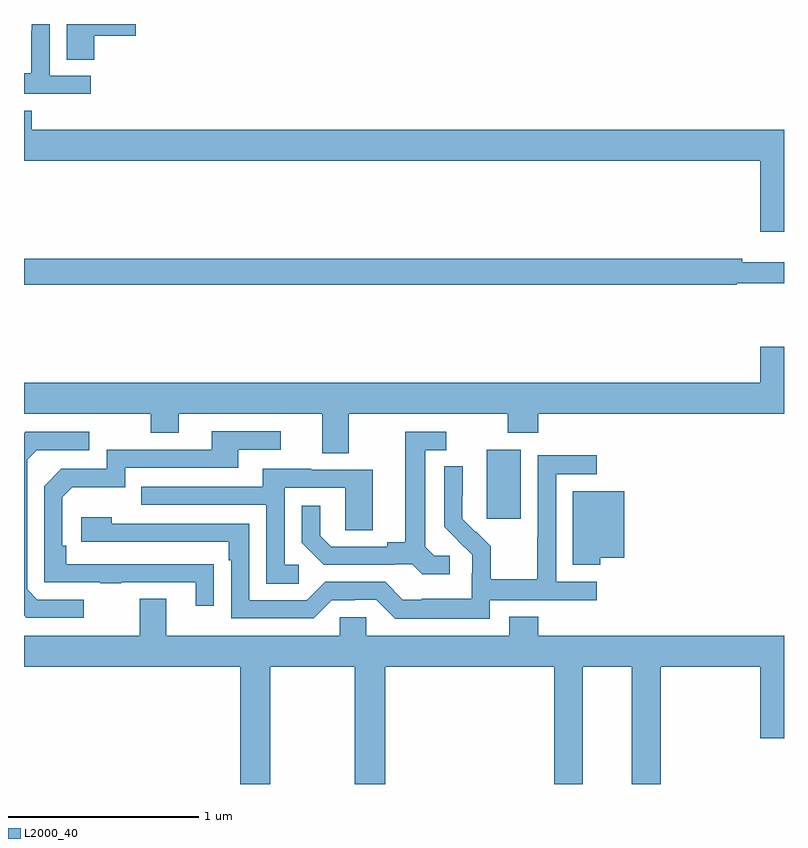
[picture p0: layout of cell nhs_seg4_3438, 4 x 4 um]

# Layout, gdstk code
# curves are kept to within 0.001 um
import gdstk
lib = gdstk.Library(unit=1e-6, precision=1e-09)
def R(c, l, rs):  # rectangles x0, y0, x1, y1
    for r in rs: c.add(gdstk.rectangle(r[:2], r[2:], *l))
def P(c, l, *ps):  # polygons
    for p in ps: c.add(gdstk.Polygon(p, *l))
L2000_40 = (2000, 40)

nhs_seg4_3438 = lib.new_cell('nhs_seg4_3438')
R(nhs_seg4_3438, L2000_40, [(295.436,768.297,295.615,768.658)])
P(nhs_seg4_3438, L2000_40, [(293.369,770.837),(293.587,770.837),(293.587,770.9),(293.225,770.9),(293.225,770.713),(293.369,770.713)],
  [(293.35,770.628),(293.136,770.628),(293.136,770.9),(293.04,770.9),(293.04,770.864),(293.038,770.864),(293.038,770.641),(293,770.641),(293,770.532),(293.35,770.532)],
  [(297,770.344),(293.042,770.344),(293.042,770.443),(293,770.443),(293,770.18),(296.876,770.18),(296.876,769.806),(297,769.806)],
  [(296.751,769.536),(297,769.536),(297,769.645),(296.78,769.645),(296.78,769.664),(293,769.664),(293,769.528),(296.751,769.528)],
  [(293,768.848),(293.668,768.848),(293.668,768.749),(293.815,768.749),(293.815,768.848),(294.569,768.848),(294.569,768.64),(294.709,768.64),(294.709,768.848),(295.546,768.848),(295.546,768.749),(295.706,768.749),(295.706,768.848),(297,768.848),(297,769.201),(296.876,769.201),(296.876,769.012),(293,769.012)],
  [(293.999,768.056),(293.222,768.057),(293.222,768.154),(293.202,768.154),(293.202,768.408),(293.255,768.461),(293.532,768.461),(293.532,768.564),(294.127,768.564),(294.127,768.66),(294.352,768.66),(294.352,768.756),(293.987,768.756),(293.987,768.66),(293.436,768.66),(293.436,768.558),(293.196,768.558),(293.106,768.468),(293.106,767.961),(293.401,767.961),(293.401,767.956),(293.513,767.956),(293.513,767.961),(293.903,767.961),(293.903,767.838),(293.999,767.838)],
  [(293.314,767.871),(293.07,767.871),(293.016,767.925),(293.016,768.606),(293.067,768.657),(293.344,768.657),(293.344,768.753),(293.007,768.753),(293,768.746),(293,767.788),(293.013,767.775),(293.314,767.775)],
  [(295.24,768.102),(295.158,768.102),(295.111,768.149),(295.111,768.657),(295.222,768.657),(295.222,768.753),(295.007,768.753),(295.007,768.173),(294.911,768.173),(294.911,768.15),(294.616,768.15),(294.559,768.207),(294.559,768.364),(294.462,768.364),(294.462,768.17),(294.578,768.054),(294.95,768.054),(294.95,768.057),(295.044,768.057),(295.096,768.005),(295.24,768.005)],
  [(295.452,767.868),(296.014,767.868),(296.014,767.964),(295.8,767.964),(295.8,768.531),(296.014,768.531),(296.014,768.63),(295.704,768.63),(295.704,768.2),(295.702,768.2),(295.702,767.977),(295.457,767.977),(295.457,768.151),(295.38,768.228),(295.377,768.225),(295.307,768.296),(295.308,768.572),(295.212,768.572),(295.212,768.254),(295.358,768.106),(295.358,768.009),(295.356,768.009),(295.356,767.875),(295.093,767.875),(295.093,767.871),(294.993,767.871),(294.9,767.964),(294.585,767.964),(294.489,767.868),(294.186,767.868),(294.186,768.27),(293.462,768.27),(293.462,768.304),(293.301,768.304),(293.301,768.174),(294.077,768.174),(294.077,768.077),(294.09,768.077),(294.09,767.772),(294.525,767.772),(294.621,767.868),(294.74,767.868),(294.74,767.871),(294.855,767.871),(294.955,767.771),(295.452,767.771)],
  [(294.445,768.054),(294.372,768.054),(294.372,768.459),(294.69,768.459),(294.69,768.235),(294.835,768.235),(294.835,768.555),(294.511,768.555),(294.511,768.559),(294.257,768.559),(294.257,768.465),(293.617,768.465),(293.617,768.369),(294.276,768.369),(294.276,767.953),(294.445,767.953)],
  [(296.033,768.092),(296.158,768.092),(296.158,768.442),(295.889,768.442),(295.889,768.053),(296.033,768.053)],
  [(294.742,766.9),(294.902,766.9),(294.902,767.516),(295.79,767.516),(295.79,766.9),(295.942,766.9),(295.942,767.516),(296.198,767.516),(296.198,766.9),(296.351,766.9),(296.351,767.516),(296.876,767.516),(296.876,767.142),(297,767.142),(297,767.68),(295.706,767.68),(295.706,767.779),(295.553,767.779),(295.553,767.68),(294.801,767.68),(294.801,767.778),(294.663,767.778),(294.663,767.68),(293.749,767.68),(293.749,767.875),(293.609,767.875),(293.609,767.68),(293,767.68),(293,767.516),(294.137,767.516),(294.137,766.9),(294.297,766.9),(294.297,767.516),(294.742,767.516)])

lib.write_gds('nhs_seg4_3438.gds')
